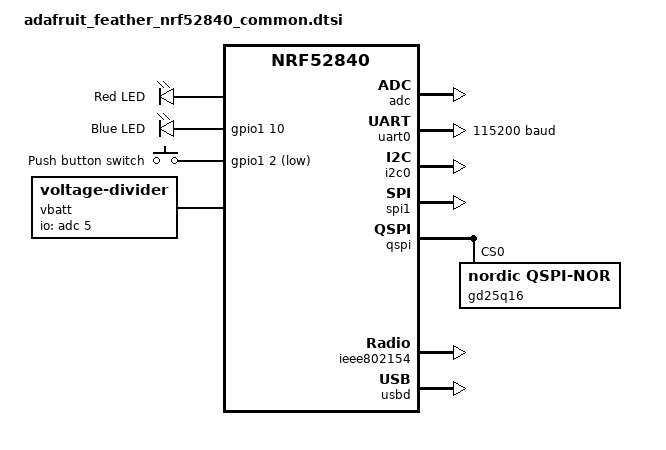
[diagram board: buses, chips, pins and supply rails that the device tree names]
/*
 * Copyright (c) 2020 Tobias Svehagen
 * Copyright (c) 2024 Jacob Winther
 *
 * SPDX-License-Identifier: Apache-2.0
 */

/dts-v1/;
#include <nordic/nrf52840_qiaa.dtsi>
#include "feather_connector.dtsi"
#include "adafruit_feather_nrf52840-pinctrl.dtsi"
#include <zephyr/dt-bindings/input/input-event-codes.h>

/ {

	chosen {
		zephyr,ieee802154 = &ieee802154;
	};

	leds {
		compatible = "gpio-leds";
		led0: led_0 {
			label = "Red LED";
		};
		led1: led_1 {
			gpios = <&gpio1 10 0>;
			label = "Blue LED";
		};
	};

	buttons {
		compatible = "gpio-keys";
		button0: button_0 {
			gpios = <&gpio1 2 (GPIO_PULL_UP | GPIO_ACTIVE_LOW)>;
			label = "Push button switch";
			zephyr,code = <INPUT_KEY_0>;
		};
	};

	vbatt {
		compatible = "voltage-divider";
		io-channels = <&adc 5>;
		output-ohms = <100000>;
		full-ohms = <(100000 + 100000)>;
	};

	/* These aliases are provided for compatibility with samples */
	aliases {
		led0 = &led0;
		led1 = &led1;
		sw0 = &button0;
		watchdog0 = &wdt0;
	};
};

&reg1 {
	regulator-initial-mode = <NRF5X_REG_MODE_DCDC>;
};

&adc {
	status = "okay";
};

&uicr {
	gpio-as-nreset;
};

&gpiote {
	status = "okay";
};

&gpio0 {
	status = "okay";
};

&gpio1 {
	status = "okay";
};

&uart0 {
	compatible = "nordic,nrf-uart";
	current-speed = <115200>;
	status = "okay";
	pinctrl-0 = <&uart0_default>;
	pinctrl-1 = <&uart0_sleep>;
	pinctrl-names = "default", "sleep";
};

&i2c0 {
	compatible = "nordic,nrf-twi";
	status = "okay";
	pinctrl-0 = <&i2c0_default>;
	pinctrl-1 = <&i2c0_sleep>;
	pinctrl-names = "default", "sleep";
};

&spi1 {
	compatible = "nordic,nrf-spi";
	status = "okay";
	pinctrl-0 = <&spi1_default>;
	pinctrl-1 = <&spi1_sleep>;
	pinctrl-names = "default", "sleep";
};

&qspi {
	status = "okay";
	pinctrl-0 = <&qspi_default>;
	pinctrl-1 = <&qspi_sleep>;
	pinctrl-names = "default", "sleep";
	gd25q16: gd25q16@0 {
		compatible = "nordic,qspi-nor";
		reg = <0>;
		writeoc = "pp4o";
		readoc = "read4io";
		sck-frequency = <16000000>;
		jedec-id = [ c8 40 15  ];
		size = <16777216>;
		has-dpd;
		t-enter-dpd = <20000>;
		t-exit-dpd = <20000>;
		quad-enable-requirements = "S2B1v1";
	};
};

&ieee802154 {
	status = "okay";
};

zephyr_udc0: &usbd {
	compatible = "nordic,nrf-usbd";
	status = "okay";
};
